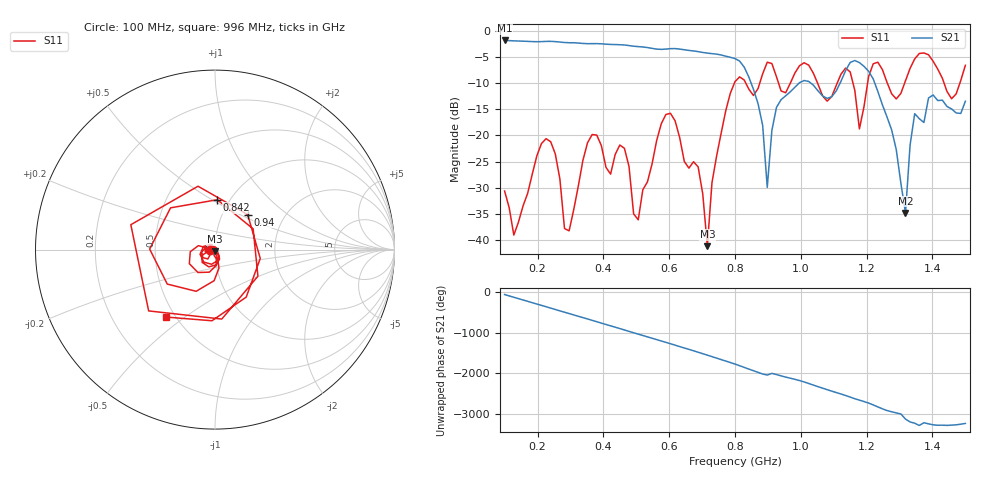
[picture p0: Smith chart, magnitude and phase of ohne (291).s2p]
! NanoVNA-App
! Date: 2025-09-25 14:23:03
! Start: 100MHz Stop: 1,5GHz Points: 101
! S-Parameter data: F S11 S21 S12 S22
# Hz S RI R 50
!  Frequency  S11_Real  S11_Imag  S21_Real  S21_Imag  S12_Real  S12_Imag  S22_Real  S22_Imag
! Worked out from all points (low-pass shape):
!   101 points, 100 MHz to 1.5 GHz, reference 50 ohm
!   highest |S21| = -1.79 dB at 100 MHz (marker M1); lowest = -34.8 dB at 1.318 GHz (marker M2)
!   |S21| within 3 dB of the highest: start of sweep to 771.1 MHz
!   lowest |S11| = -41.2 dB at 716 MHz (marker M3), VSWR 1.02, Z = 49.9 - j0.857 ohm
!   |S11| at or under -10 dB: start of sweep to 798 MHz; 833 MHz to 875.1 MHz (42.01 MHz wide, 4.92 % of centre); 1.051 GHz to 1.11 GHz (59.25 MHz wide, 5.48 % of centre) (the widest 3 of 7)
!   S12 and S22 are empty: the file has one direction only
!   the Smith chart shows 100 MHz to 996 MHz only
!   S11 on the Smith chart (normalised r, x): 100 MHz: 0.94, -0.01; 842 MHz: 0.88, +0.53; 940 MHz: 1.31, +0.55; 996 MHz: 0.44, -0.42
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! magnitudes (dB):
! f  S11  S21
! 100 MHz  -30.6  -1.8
! 128 MHz  -39.1  -1.9
! 226 MHz  -20.6  -2.0
! 296 MHz  -38.3  -2.2
! 338 MHz  -24.7  -2.4
! 464 MHz  -22.5  -2.7
! 506 MHz  -36.2  -3.0
! 576 MHz  -17.8  -3.5
! 688 MHz  -26.0  -3.9
! 716 MHz  -41.2  -4.2
! 800 MHz  -9.7  -5.3
! 842 MHz  -11.1  -8.8
! 898 MHz  -6.0  -29.9
! 940 MHz  -11.5  -13.1
! 996 MHz  -6.6  -9.9
! 1.038 GHz  -8.1  -10.3
! 1.178 GHz  -18.7  -6.0
! 1.22 GHz  -6.3  -9.2
! 1.276 GHz  -12.0  -18.9
! 1.318 GHz  -9.5  -34.8
! 1.346 GHz  -5.3  -15.8
! 1.5 GHz  -6.6  -13.4
